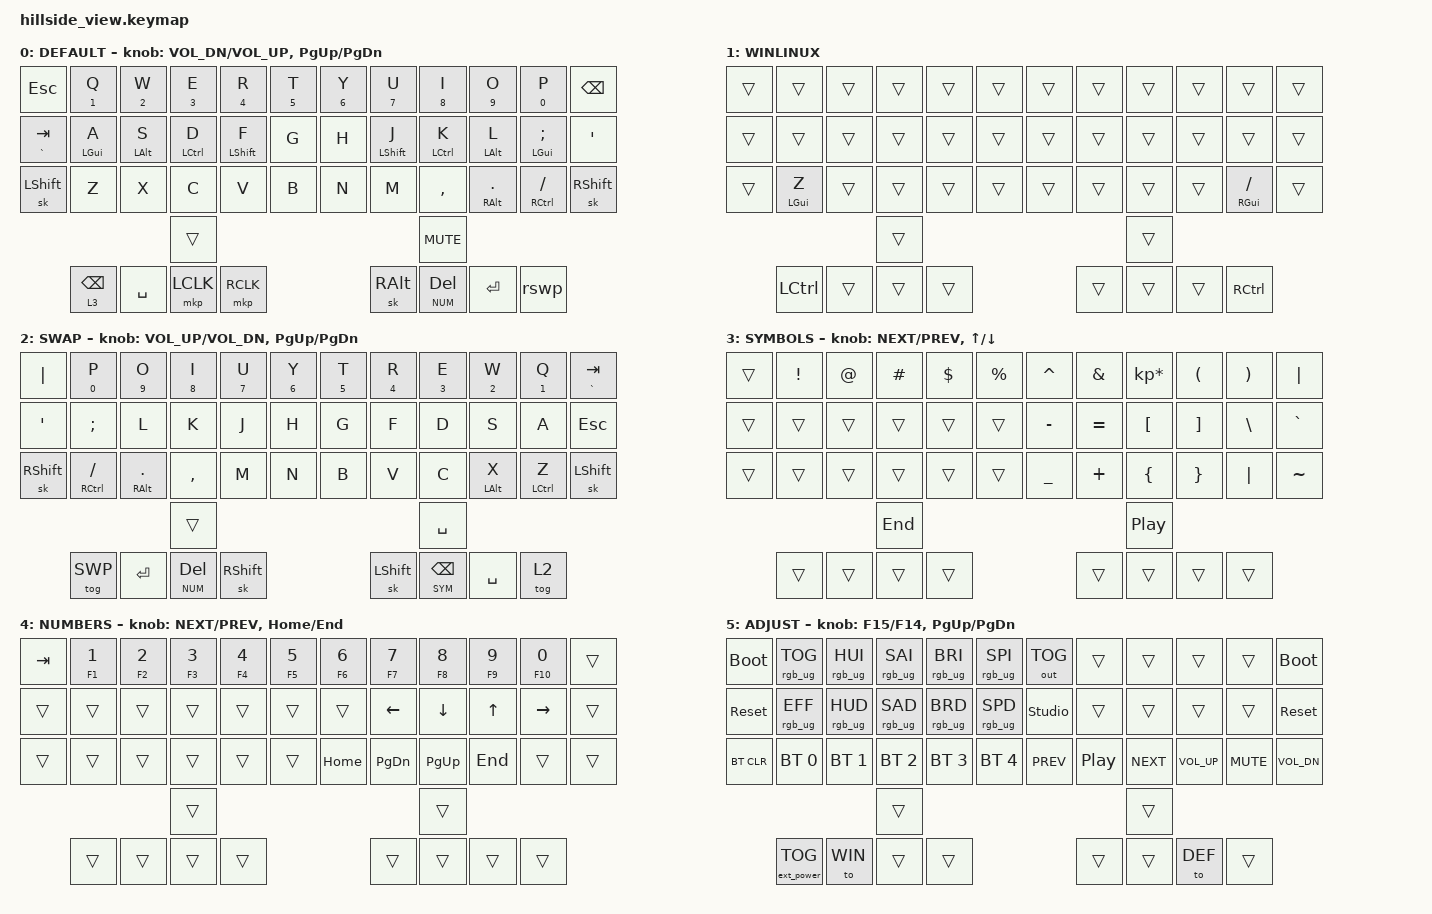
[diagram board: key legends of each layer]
#include <behaviors/mouse_keys.dtsi>
#include <behaviors/studio_unlock.dtsi>
#include <behaviors.dtsi>
#include <dt-bindings/zmk/bt.h>
#include <dt-bindings/zmk/ext_power.h>
#include <dt-bindings/zmk/keys.h>
#include <dt-bindings/zmk/mouse.h>
#include <dt-bindings/zmk/outputs.h>
#include <dt-bindings/zmk/rgb.h>

// Left bottom row pinky 2nd column

#ifndef LB5

#define LB5 24

#endif

// Right bottom row pinky 2nd column
#ifndef RB5

#define RB5 35

#endif

#define DEF 0
#define WIN 1
#define SWP 2
#define SYM 3
#define NUM 4
#define ADJ 5
#define QUICK_TAP_MS 175

&sk {
    release-after-ms = <600>;
    quick-release;
};

/ {
    /* assign `input-listener` to all pointing devices */
    /* &glidepoint0 on central, &glidepoint1 on peripheral */

    tpad_central_listener {
        compatible = "zmk,input-behavior-listener";
        device = <&glidepoint0>;
        y-invert;
        scale-multiplier = <2>;

        // xy-swap;
        // x-invert;
    };

    tpad_peripheral_listener {
        compatible = "zmk,input-behavior-listener";
        device = <&glidepoint1>;
        layers = <DEF WIN SWP ADJ>;
        y-invert;
        scale-multiplier = <2>;

        /* NOTE: do NOT override event code here, */
        /*       let Cirque glidepoint reports click from taps */
        // evt-type = <INPUT_EV_REL>;
        // x-input-code = <INPUT_REL_X>;
        // y-input-code = <INPUT_REL_Y>;
    };

    tpad_peripheral_scroll {
        compatible = "zmk,input-behavior-listener";
        device = <&glidepoint1>;
        layers = <NUM SYM>;

        /* NOTE: only apply input-code overriding for INPUT_EV_REL */

        evt-type = <INPUT_EV_REL>;
        x-input-code = <INPUT_REL_MISC>;
        y-input-code = <INPUT_REL_WHEEL>;
        bindings = <&ib_wheel_scaler 1 8>;
    };

    ib_wheel_scaler: ib_wheel_scaler {
        compatible = "zmk,input-behavior-scaler";
        #binding-cells = <2>;
        evt-type = <INPUT_EV_REL>;
        input-code = <INPUT_REL_WHEEL>;
    };
};

/ {
    conditional_layers {
        compatible = "zmk,conditional-layers";

        tri_layer {
            if-layers = <SYM NUM>;
            then-layer = <ADJ>;
        };
    };

    combos {
        compatible = "zmk,combos";

        caps {
            timeout-ms = <50>;
            key-positions = <LB5 RB5>;
            bindings = <&caps_word>;
        };

        // symbols

        cb_excl {
            bindings = <&kp EXCL>;
            key-positions = <1 13>;
            timeout-ms = <30>;
        };

        cb_at {
            bindings = <&kp LEFT_BRACE>;
            key-positions = <2 14>;
            timeout-ms = <30>;
        };

        cb_hash {
            bindings = <&kp LEFT_BRACKET>;
            key-positions = <3 15>;
            timeout-ms = <30>;
        };

        cb_dllr {
            bindings = <&kp LEFT_PARENTHESIS>;
            key-positions = <4 16>;
            timeout-ms = <30>;
        };

        cb_prcnt {
            bindings = <&kp PRCNT>;
            key-positions = <5 17>;
            timeout-ms = <30>;
        };

        cb_caret {
            bindings = <&kp CARET>;
            key-positions = <6 18>;
            timeout-ms = <30>;
        };

        cb_amps {
            bindings = <&kp RIGHT_PARENTHESIS>;
            key-positions = <7 19>;
            timeout-ms = <30>;
        };

        cb_mult {
            bindings = <&kp RIGHT_BRACKET>;
            key-positions = <8 20>;
            timeout-ms = <30>;
        };

        cb_lparen {
            bindings = <&kp RIGHT_BRACE>;
            key-positions = <9 21>;
            timeout-ms = <30>;
        };

        cb_rparen {
            bindings = <&kp RIGHT_PARENTHESIS>;
            key-positions = <10 22>;
            timeout-ms = <30>;
        };

        mid_clk {
            bindings = <&mkp MCLK>;
            key-positions = <43 37>;
        };
    };

    behaviors {
        lt_qk: layer_toggle_quick {
            compatible = "zmk,behavior-hold-tap";
            #binding-cells = <2>;
            flavor = "tap-preferred";
            tapping-term-ms = <150>;
            quick-tap-ms = <QUICK_TAP_MS>;
            bindings = <&mo>, <&kp>;
        };

        mt_sk: mod_tap_sticky {
            compatible = "zmk,behavior-hold-tap";
            #binding-cells = <2>;
            flavor = "tap-preferred";
            tapping-term-ms = <150>;
            quick-tap-ms = <200>;
            bindings = <&sk>, <&kp>;
        };

        ht: hold_tap {
            compatible = "zmk,behavior-hold-tap";
            #binding-cells = <2>;
            tapping-term-ms = <240>;
            quick-tap-ms = <240>;
            flavor = "tap-preferred";
            bindings = <&kp>, <&kp>;
        };

        lswp: left_swp {
            compatible = "zmk,behavior-tap-dance";
            #binding-cells = <0>;
            tapping-term-ms = <200>;
            bindings = <&sk LGUI>, <&mo 2>, <&tog 2>;
        };

        rswp: right_swap {
            compatible = "zmk,behavior-tap-dance";
            #binding-cells = <0>;
            tapping-term-ms = <200>;
            bindings = <&sk RGUI>, <&mo 2>, <&tog 2>;
        };

        hm: homerow_mods {
            compatible = "zmk,behavior-hold-tap";
            #binding-cells = <2>;
            tapping-term-ms = <220>;
            quick-tap-ms = <0>;
            flavor = "tap-preferred";
            bindings = <&kp>, <&kp>;
        };
    };

    keymap {
        compatible = "zmk,keymap";

        default_layer {
            display-name = "DEFAULT";
            bindings = <
&kp ESC        &ht N1 Q            &ht N2 W    &ht N3 E     &ht N4 R     &ht N5 T      &ht N6 Y  &ht N7 U       &ht N8 I        &ht N9 O         &ht N0 P           &kp BSPC
&ht GRAVE TAB  &hm LGUI A          &hm LALT S  &hm LCTRL D  &hm LSHFT F  &kp G         &kp H     &hm LSHFT J    &hm LCTRL K     &hm LALT L       &hm LGUI SEMI      &kp SQT
&sk LSHFT      &kp Z               &kp X       &kp C        &kp V        &kp B         &kp N     &kp M          &kp COMMA       &mt_sk RALT DOT  &mt_sk RCTRL FSLH  &sk RSHFT
                                               &trans                                                           &kp C_MUTE
               &lt_qk 3 BACKSPACE  &kp SPACE   &mkp LCLK    &mkp RCLK                            &sk RIGHT_ALT  &lt_qk NUM DEL  &kp RET          &rswp
            >;

            sensor-bindings = <&inc_dec_kp C_VOL_DN C_VOL_UP &inc_dec_kp PG_UP PG_DN>;
        };

        winlinux_layer {
            display-name = "WINLINUX";
            bindings = <
&trans  &trans         &trans  &trans  &trans  &trans      &trans  &trans  &trans  &trans  &trans            &trans
&trans  &trans         &trans  &trans  &trans  &trans      &trans  &trans  &trans  &trans  &trans            &trans
&trans  &mt_sk LGUI Z  &trans  &trans  &trans  &trans      &trans  &trans  &trans  &trans  &mt_sk RGUI FSLH  &trans
                               &trans                                      &trans
        &kp LCTRL      &trans  &trans  &trans                      &trans  &trans  &trans  &kp RCTRL
            >;
        };

        swap_layer {
            display-name = "SWAP";
            bindings = <
&kp PIPE   &ht N0 P           &ht N9 O         &ht N8 I        &ht N7 U    &ht N6 Y      &ht N5 T  &ht N4 R    &ht N3 E         &ht N2 W       &ht N1 Q        &ht GRAVE TAB
&kp SQT    &kp SEMI           &kp L            &kp K           &kp J       &kp H         &kp G     &kp F       &kp D            &kp S          &kp A           &kp ESC
&sk RSHFT  &mt_sk RCTRL FSLH  &mt_sk RALT DOT  &kp COMMA       &kp M       &kp N         &kp B     &kp V       &kp C            &mt_sk LALT X  &mt_sk LCTRL Z  &sk LSHFT
                                               &trans                                                          &kp SPACE
           &tog SWP           &kp RET          &lt_qk NUM DEL  &sk RSHIFT                          &sk LSHIFT  &lt_qk SYM BSPC  &kp SPACE      &tog 2
            >;

            sensor-bindings = <&inc_dec_kp C_VOL_UP C_VOL_DN &inc_dec_kp PG_UP PG_DN>;
        };

        sym_layer {
            display-name = "SYMBOLS";
            bindings = <
&trans  &kp EXCL  &kp AT  &kp HASH  &kp DLLR  &kp PRCNT      &kp CARET  &kp AMPS   &kp KP_MULTIPLY  &kp LPAR  &kp RPAR  &kp PIPE
&trans  &trans    &trans  &trans    &trans    &trans         &kp MINUS  &kp EQUAL  &kp LBKT         &kp RBKT  &kp BSLH  &kp GRAVE
&trans  &trans    &trans  &trans    &trans    &trans         &kp UNDER  &kp PLUS   &kp LBRC         &kp RBRC  &kp PIPE  &kp TILDE
                          &kp END                                                  &kp C_PP
        &trans    &trans  &trans    &trans                              &trans     &trans           &trans    &trans
            >;

            sensor-bindings = <&inc_dec_kp C_NEXT C_PREV &inc_dec_kp UP DOWN>;
        };

        num_layer {
            display-name = "NUMBERS";
            bindings = <
&kp TAB  &ht F1 N1  &ht F2 N2  &ht F3 N3  &ht F4 N4  &ht F5 N5      &ht F6 N6  &ht F7 N7  &ht F8 N8  &ht F9 N9  &ht F10 N0  &trans
&trans   &trans     &trans     &trans     &trans     &trans         &trans     &kp LEFT   &kp DOWN   &kp UP     &kp RIGHT   &trans
&trans   &trans     &trans     &trans     &trans     &trans         &kp HOME   &kp PG_DN  &kp PG_UP  &kp END    &trans      &trans
                               &trans                                                     &trans
         &trans     &trans     &trans     &trans                               &trans     &trans     &trans     &trans
            >;

            sensor-bindings = <&inc_dec_kp C_NEXT C_PREV &inc_dec_kp HOME END>;
        };

        adj_layer {
            display-name = "ADJUST";
            bindings = <
&bootloader  &rgb_ug RGB_TOG    &rgb_ug RGB_HUI  &rgb_ug RGB_SAI  &rgb_ug RGB_BRI  &rgb_ug RGB_SPI      &out OUT_TOG    &trans    &trans      &trans        &trans      &bootloader
&sys_reset   &rgb_ug RGB_EFF    &rgb_ug RGB_HUD  &rgb_ug RGB_SAD  &rgb_ug RGB_BRD  &rgb_ug RGB_SPD      &studio_unlock  &trans    &trans      &trans        &trans      &sys_reset
&bt BT_CLR   &bt BT_SEL 0       &bt BT_SEL 1     &bt BT_SEL 2     &bt BT_SEL 3     &bt BT_SEL 4         &kp C_PREV      &kp C_PP  &kp C_NEXT  &kp C_VOL_UP  &kp C_MUTE  &kp C_VOL_DN
                                                 &trans                                                                           &trans
             &ext_power EP_TOG  &to WIN          &trans           &trans                                                &trans    &trans      &to DEF       &trans
            >;

            // F15 and F14 are brightness controls for macOS

            sensor-bindings = <&inc_dec_kp F15 F14 &inc_dec_kp PG_UP PG_DN>;
        };
    };
};
